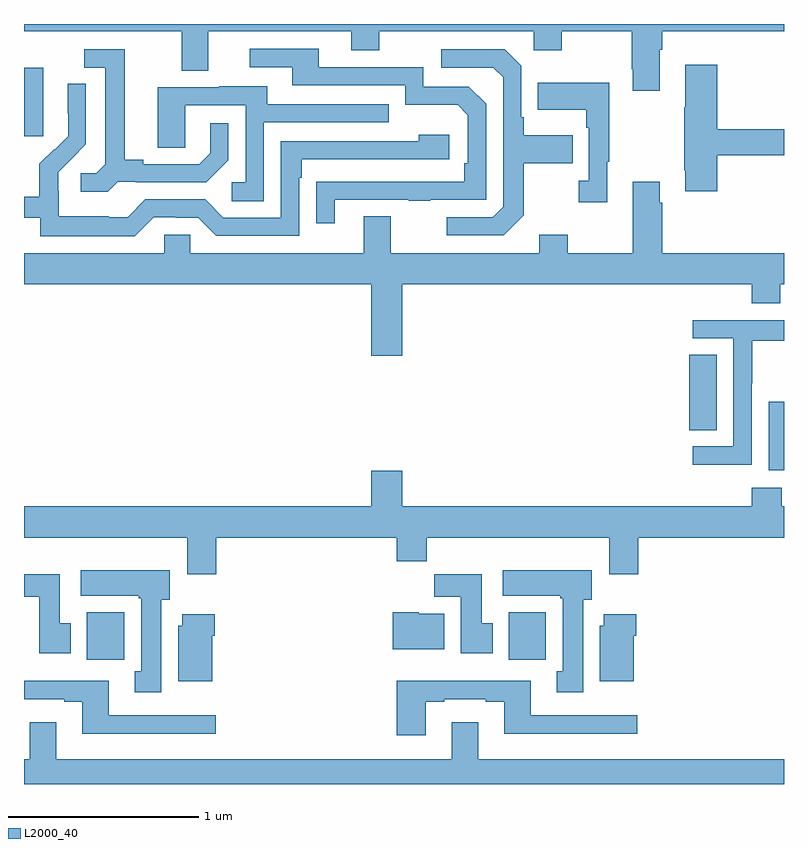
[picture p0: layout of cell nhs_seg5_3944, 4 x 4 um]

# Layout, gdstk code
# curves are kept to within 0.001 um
import gdstk
lib = gdstk.Library(unit=1e-6, precision=1e-09)
def R(c, l, rs):  # rectangles x0, y0, x1, y1
    for r in rs: c.add(gdstk.rectangle(r[:2], r[2:], *l))
def P(c, l, *ps):  # polygons
    for p in ps: c.add(gdstk.Polygon(p, *l))
L2000_40 = (2000, 40)

nhs_seg5_3944 = lib.new_cell('nhs_seg5_3944')
R(nhs_seg5_3944, L2000_40, [(343.331,853.452,343.527,853.702), (345.551,853.452,345.747,853.702), (346.919,854.45,347,854.811), (346.502,854.662,346.645,855.059), (343,856.209,343.102,856.57)])
P(nhs_seg5_3944, L2000_40, [(346.345,856.664),(346.358,856.664),(346.358,856.76),(347,856.76),(347,856.799),(343,856.799),(343,856.76),(343.829,856.76),(343.829,856.552),(343.969,856.552),(343.969,856.76),(344.723,856.76),(344.723,856.661),(344.871,856.661),(344.871,856.76),(345.684,856.76),(345.684,856.661),(345.831,856.661),(345.831,856.76),(346.198,856.76),(346.198,856.561),(346.205,856.561),(346.205,856.449),(346.345,856.449)],
  [(344.635,855.873),(345.025,855.873),(345.025,855.868),(345.137,855.868),(345.137,855.873),(345.432,855.873),(345.432,856.38),(345.342,856.47),(345.102,856.47),(345.102,856.572),(344.551,856.572),(344.551,856.668),(344.187,856.668),(344.187,856.572),(344.411,856.572),(344.411,856.476),(345.006,856.476),(345.006,856.373),(345.283,856.373),(345.336,856.32),(345.336,856.066),(345.316,856.066),(345.316,855.969),(344.539,855.968),(344.539,855.75),(344.635,855.75)],
  [(343.494,855.969),(343.588,855.969),(343.588,855.966),(343.96,855.966),(344.076,856.082),(344.076,856.276),(343.979,856.276),(343.979,856.119),(343.922,856.062),(343.627,856.062),(343.627,856.085),(343.531,856.085),(343.531,856.665),(343.317,856.665),(343.317,856.569),(343.427,856.569),(343.427,856.061),(343.38,856.014),(343.299,856.014),(343.299,855.917),(343.442,855.917)],
  [(345.631,855.793),(345.631,856.066),(345.887,856.066),(345.887,856.213),(345.631,856.213),(345.631,856.309),(345.618,856.309),(345.618,856.578),(345.531,856.665),(345.195,856.665),(345.195,856.569),(345.471,856.569),(345.522,856.518),(345.522,855.837),(345.468,855.783),(345.225,855.783),(345.225,855.687),(345.525,855.687)],
  [(346.649,856.108),(347,856.108),(347,856.244),(346.649,856.244),(346.649,856.585),(346.481,856.585),(346.481,856.361),(346.474,856.361),(346.474,856.03),(346.481,856.03),(346.481,855.918),(346.649,855.918)],
  [(346.069,856.073),(346.081,856.073),(346.081,856.489),(345.703,856.489),(345.703,856.349),(345.96,856.349),(345.96,856.253),(345.972,856.253),(345.972,855.974),(345.921,855.974),(345.921,855.861),(346.069,855.861)],
  [(343.683,855.783),(343.799,855.783),(343.799,855.78),(343.917,855.78),(344.013,855.684),(344.448,855.684),(344.448,855.989),(344.461,855.989),(344.461,856.086),(345.238,856.086),(345.238,856.216),(345.077,856.216),(345.077,856.182),(344.352,856.182),(344.352,855.78),(344.049,855.78),(343.953,855.876),(343.638,855.876),(343.545,855.783),(343.445,855.783),(343.445,855.787),(343.182,855.787),(343.182,855.921),(343.18,855.921),(343.18,856.018),(343.326,856.166),(343.326,856.484),(343.23,856.484),(343.23,856.33),(343.232,856.33),(343.232,856.208),(343.161,856.137),(343.158,856.14),(343.081,856.063),(343.081,855.889),(343,855.889),(343,855.78),(343.086,855.78),(343.086,855.683),(343.583,855.683)],
  [(344.262,856.281),(344.921,856.281),(344.921,856.377),(344.281,856.377),(344.281,856.471),(344.027,856.471),(344.027,856.467),(343.703,856.467),(343.703,856.147),(343.848,856.147),(343.848,856.371),(344.166,856.371),(344.166,855.966),(344.094,855.966),(344.094,855.865),(344.262,855.865)],
  [(344.992,855.428),(346.829,855.428),(346.829,855.329),(346.981,855.329),(346.981,855.428),(347,855.428),(347,855.592),(346.358,855.592),(346.358,855.857),(346.345,855.857),(346.345,855.97),(346.205,855.97),(346.205,855.592),(345.861,855.592),(345.861,855.691),(345.713,855.691),(345.713,855.592),(344.929,855.592),(344.929,855.787),(344.789,855.787),(344.789,855.592),(343.875,855.592),(343.875,855.69),(343.737,855.69),(343.737,855.592),(343,855.592),(343,855.428),(344.828,855.428),(344.828,855.054),(344.992,855.054)],
  [(346.83,854.908),(346.833,854.908),(346.833,855.132),(347,855.132),(347,855.24),(346.521,855.24),(346.521,855.144),(346.734,855.144),(346.734,854.577),(346.521,854.577),(346.521,854.479),(346.83,854.479)],
  [(344.012,854.096),(344.963,854.096),(344.963,853.972),(345.119,853.972),(345.119,854.096),(346.079,854.096),(346.079,853.902),(346.232,853.902),(346.232,854.096),(347,854.096),(347,854.26),(346.989,854.26),(346.989,854.359),(346.829,854.359),(346.829,854.26),(344.992,854.26),(344.992,854.449),(344.828,854.449),(344.828,854.26),(343,854.26),(343,854.096),(343.859,854.096),(343.859,853.902),(344.012,853.902)],
  [(343.723,853.77),(343.768,853.77),(343.768,853.924),(343.299,853.924),(343.299,853.79),(343.603,853.79),(343.603,853.777),(343.616,853.777),(343.616,853.393),(343.583,853.393),(343.583,853.281),(343.723,853.281)],
  [(345.943,853.77),(345.988,853.77),(345.988,853.924),(345.519,853.924),(345.519,853.79),(345.823,853.79),(345.823,853.777),(345.836,853.777),(345.836,853.393),(345.803,853.393),(345.803,853.281),(345.943,853.281)],
  [(345.466,853.644),(345.409,853.644),(345.409,853.903),(345.16,853.903),(345.16,853.784),(345.299,853.784),(345.299,853.488),(345.466,853.488)],
  [(343.246,853.644),(343.189,853.644),(343.189,853.903),(343,853.903),(343,853.784),(343.079,853.784),(343.079,853.488),(343.246,853.488)],
  [(345.211,853.696),(345.078,853.696),(345.078,853.702),(344.942,853.702),(344.942,853.508),(345.211,853.508)],
  [(343.99,853.58),(344.003,853.58),(344.003,853.693),(343.832,853.693),(343.832,853.632),(343.811,853.632),(343.811,853.34),(343.99,853.34)],
  [(346.21,853.58),(346.223,853.58),(346.223,853.693),(346.052,853.693),(346.052,853.632),(346.031,853.632),(346.031,853.34),(346.21,853.34)],
  [(345.115,853.233),(345.211,853.233),(345.211,853.245),(345.431,853.245),(345.431,853.233),(345.527,853.233),(345.527,853.064),(346.228,853.064),(346.228,853.161),(345.667,853.161),(345.667,853.342),(344.963,853.342),(344.963,853.056),(345.115,853.056)],
  [(344.008,853.161),(343.447,853.161),(343.447,853.342),(343,853.342),(343,853.245),(343.211,853.245),(343.211,853.233),(343.307,853.233),(343.307,853.064),(344.008,853.064)],
  [(347,852.928),(345.391,852.928),(345.391,853.123),(345.251,853.123),(345.251,852.928),(343.171,852.928),(343.171,853.123),(343.031,853.123),(343.031,852.928),(343,852.928),(343,852.799),(347,852.799)])

lib.write_gds('nhs_seg5_3944.gds')
